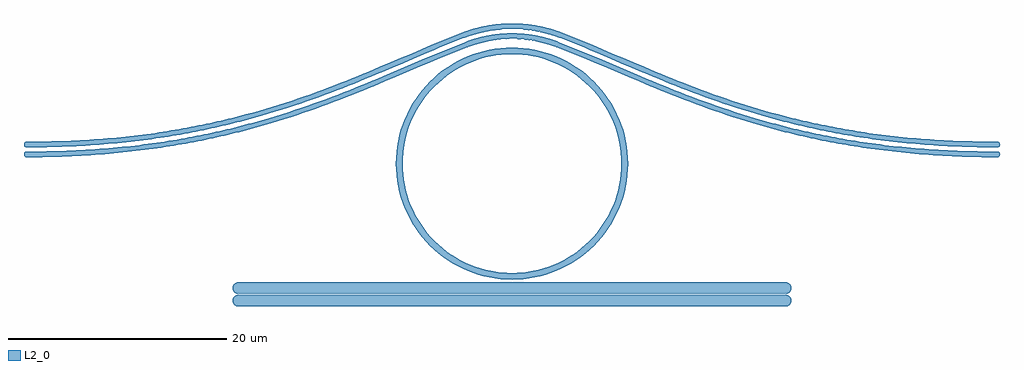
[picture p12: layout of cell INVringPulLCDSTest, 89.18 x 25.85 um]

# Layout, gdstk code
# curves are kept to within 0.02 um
import gdstk
lib = gdstk.Library(unit=1e-6, precision=1e-09)
def P(c, l, *ps):  # polygons
    for p in ps: c.add(gdstk.Polygon(p, *l))
L2_0 = (2, 0)

invringpullcdstest = lib.new_cell('INVringPulLCDSTest')
P(invringpullcdstest, L2_0, [(10,-30.6),(8.961,-30.549),(7.932,-30.396),(6.923,-30.144),(5.944,-29.793),(5.003,-29.348),(4.111,-28.814),(3.275,-28.194),(2.505,-27.495),(1.806,-26.725),(1.186,-25.889),(0.652,-24.997),(0.207,-24.056),(-0.144,-23.077),(-0.396,-22.068),(-0.549,-21.039),(-0.6,-20),(-0.549,-18.961),(-0.396,-17.932),(-0.144,-16.923),(0.207,-15.944),(0.652,-15.003),(1.186,-14.111),(1.806,-13.275),(2.505,-12.505),(3.275,-11.806),(4.111,-11.186),(5.003,-10.652),(5.944,-10.207),(6.923,-9.856),(7.932,-9.604),(8.961,-9.451),(10,-9.4),(11.039,-9.451),(12.068,-9.604),(13.077,-9.856),(14.056,-10.207),(14.997,-10.652),(15.889,-11.186),(16.725,-11.806),(17.495,-12.505),(18.194,-13.275),(18.814,-14.111),(19.348,-15.003),(19.793,-15.944),(20.144,-16.923),(20.396,-17.932),(20.549,-18.961),(20.6,-20),(20,-20),(19.988,-19.509),(19.892,-18.533),(19.808,-18.049),(19.569,-17.097),(19.239,-16.173),(19.04,-15.724),(18.577,-14.859),(18.032,-14.043),(17.41,-13.284),(16.716,-12.59),(16.344,-12.27),(15.556,-11.685),(15.141,-11.423),(14.276,-10.96),(13.827,-10.761),(12.903,-10.431),(12.43,-10.3),(11.951,-10.192),(10.98,-10.048),(10.491,-10.012),(9.509,-10.012),(8.533,-10.108),(8.049,-10.192),(7.097,-10.431),(6.631,-10.585),(6.173,-10.761),(5.286,-11.181),(4.444,-11.685),(4.043,-11.968),(3.284,-12.59),(2.929,-12.929),(2.59,-13.284),(1.968,-14.043),(1.423,-14.859),(0.96,-15.724),(0.761,-16.173),(0.431,-17.097),(0.192,-18.049),(0.108,-18.533),(0.012,-19.509),(0.012,-20.491),(0.048,-20.98),(0.192,-21.951),(0.431,-22.903),(0.761,-23.827),(0.96,-24.276),(1.181,-24.714),(1.685,-25.556),(2.27,-26.344),(2.59,-26.716),(3.284,-27.41),(4.043,-28.032),(4.444,-28.315),(5.286,-28.819),(6.173,-29.239),(7.097,-29.569),(7.57,-29.7),(8.533,-29.892),(9.509,-29.988),(10.491,-29.988),(10.98,-29.952),(11.951,-29.808),(12.903,-29.569),(13.369,-29.415),(14.276,-29.04),(14.714,-28.819),(15.556,-28.315),(15.957,-28.032),(16.716,-27.41),(17.41,-26.716),(18.032,-25.957),(18.577,-25.141),(19.04,-24.276),(19.239,-23.827),(19.569,-22.903),(19.7,-22.43),(19.892,-21.467),(19.952,-20.98),(20,-20),(20.6,-20),(20.549,-21.039),(20.396,-22.068),(20.144,-23.077),(19.793,-24.056),(19.348,-24.997),(18.814,-25.889),(18.194,-26.725),(17.495,-27.495),(16.725,-28.194),(15.889,-28.814),(14.997,-29.348),(14.056,-29.793),(13.077,-30.144),(12.068,-30.396),(11.039,-30.549)],
  [(-34.341,-19.406),(-34.341,-18.906),(-31.585,-18.865),(-28.951,-18.746),(-26.432,-18.556),(-24.024,-18.298),(-21.347,-17.921),(-19.159,-17.538),(-16.724,-17.029),(-14.731,-16.546),(-12.82,-16.025),(-10.984,-15.473),(-9.223,-14.896),(-6.977,-14.096),(-3.796,-12.856),(3.439,-9.81),(6.065,-8.769),(7.016,-8.48),(7.987,-8.271),(8.939,-8.147),(9.897,-8.1),(10.822,-8.128),(11.81,-8.238),(12.785,-8.43),(13.708,-8.692),(16.561,-9.81),(23.796,-12.856),(26.977,-14.096),(29.223,-14.896),(31.588,-15.66),(33.766,-16.29),(35.717,-16.792),(38.1,-17.327),(40.241,-17.736),(42.477,-18.092),(44.815,-18.391),(47.259,-18.627),(49.382,-18.771),(51.585,-18.865),(54.341,-18.906),(54.341,-19.406),(50.674,-19.333),(47.22,-19.125),(44.362,-18.842),(41.648,-18.474),(39.069,-18.029),(36.277,-17.439),(34.284,-16.946),(32.06,-16.324),(29.647,-15.566),(27.37,-14.773),(23.632,-13.328),(16.385,-10.278),(13.552,-9.167),(12.7,-8.924),(11.831,-8.748),(10.886,-8.634),(9.901,-8.6),(8.983,-8.645),(8.072,-8.764),(7.141,-8.964),(6.261,-9.23),(3.615,-10.278),(-3.632,-13.328),(-6.818,-14.57),(-9.067,-15.371),(-11.443,-16.139),(-13.637,-16.773),(-15.603,-17.279),(-18.003,-17.818),(-20.158,-18.229),(-22.409,-18.588),(-24.761,-18.888),(-27.22,-19.125),(-29.355,-19.271),(-31.57,-19.365)],
  [(-34.341,-18.506),(-34.341,-18.006),(-31.612,-17.965),(-29.43,-17.873),(-26.919,-17.695),(-24.519,-17.451),(-22.225,-17.146),(-19.675,-16.719),(-17.252,-16.225),(-15.271,-15.755),(-13.063,-15.159),(-11.252,-14.614),(-9.501,-14.04),(-7.259,-13.241),(-4.082,-12.002),(3.14,-8.96),(5.942,-7.86),(6.897,-7.582),(7.835,-7.384),(8.822,-7.254),(9.889,-7.2),(10.921,-7.233),(12.019,-7.36),(12.995,-7.555),(14.058,-7.86),(16.86,-8.96),(24.082,-12.002),(27.259,-13.241),(29.501,-14.04),(31.848,-14.799),(33.683,-15.334),(35.922,-15.916),(38.275,-16.444),(40.39,-16.848),(42.6,-17.201),(44.911,-17.496),(47.33,-17.73),(49.43,-17.873),(51.612,-17.965),(54.341,-18.006),(54.341,-18.506),(50.709,-18.434),(47.29,-18.228),(44.463,-17.948),(41.779,-17.584),(38.878,-17.076),(36.473,-16.561),(34.506,-16.074),(32.311,-15.46),(29.924,-14.71),(27.651,-13.918),(23.919,-12.475),(16.684,-9.428),(13.866,-8.323),(12.878,-8.041),(11.905,-7.848),(10.92,-7.734),(9.894,-7.7),(8.868,-7.752),(7.99,-7.865),(6.984,-8.075),(6.033,-8.357),(3.316,-9.428),(-3.919,-12.475),(-7.651,-13.918),(-9.924,-14.71),(-11.703,-15.277),(-13.868,-15.903),(-15.808,-16.403),(-18.178,-16.935),(-20.307,-17.341),(-22.532,-17.696),(-24.858,-17.993),(-26.877,-18.194),(-29.403,-18.372),(-31.597,-18.465)],
  [(54.341,-18.506),(54.341,-18.006),(54.438,-18.025),(54.518,-18.079),(54.571,-18.158),(54.591,-18.256),(54.571,-18.353),(54.518,-18.432),(54.438,-18.486)],
  [(-34.341,-18.506),(-34.438,-18.486),(-34.518,-18.432),(-34.571,-18.353),(-34.591,-18.256),(-34.571,-18.158),(-34.518,-18.079),(-34.438,-18.025),(-34.341,-18.006)],
  [(54.341,-19.406),(54.341,-18.906),(54.438,-18.925),(54.518,-18.979),(54.571,-19.058),(54.591,-19.156),(54.571,-19.253),(54.518,-19.332),(54.438,-19.386)],
  [(-34.341,-19.406),(-34.438,-19.386),(-34.518,-19.332),(-34.571,-19.253),(-34.591,-19.156),(-34.571,-19.058),(-34.518,-18.979),(-34.438,-18.925),(-34.341,-18.906)],
  [(-15,-33.05),(-15.204,-33.009),(-15.371,-32.896),(-15.484,-32.729),(-15.525,-32.525),(-15.484,-32.321),(-15.371,-32.154),(-15.204,-32.041),(-15,-32),(35,-32),(35.204,-32.041),(35.371,-32.154),(35.484,-32.321),(35.525,-32.525),(35.484,-32.729),(35.371,-32.896),(35.204,-33.009),(35,-33.05)],
  [(-15,-31.9),(-15.204,-31.859),(-15.371,-31.746),(-15.484,-31.579),(-15.525,-31.375),(-15.484,-31.171),(-15.371,-31.004),(-15.204,-30.891),(-15,-30.85),(35,-30.85),(35.204,-30.891),(35.371,-31.004),(35.484,-31.171),(35.525,-31.375),(35.484,-31.579),(35.371,-31.746),(35.204,-31.859),(35,-31.9)])

lib.write_gds('INVringPulLCDSTest.gds')
